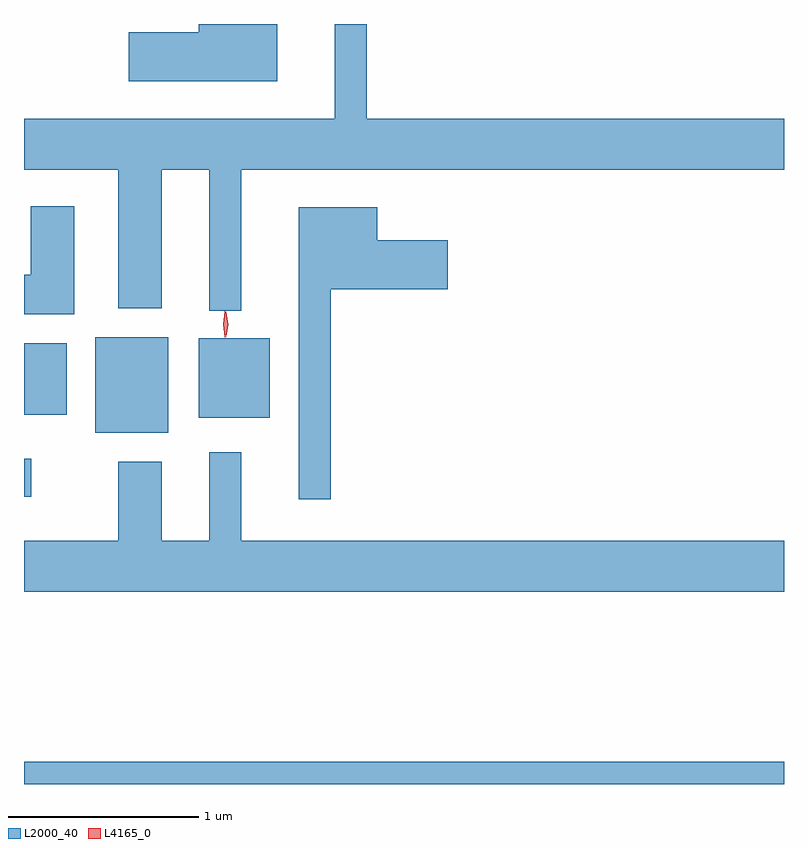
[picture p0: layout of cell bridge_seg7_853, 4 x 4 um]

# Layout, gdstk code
import gdstk
lib = gdstk.Library(unit=1e-6, precision=1e-09)
def R(c, l, rs):  # rectangles x0, y0, x1, y1
    for r in rs: c.add(gdstk.rectangle(r[:2], r[2:], *l))
def P(c, l, *ps):  # polygons
    for p in ps: c.add(gdstk.Polygon(p, *l))
L2000_40 = (2000, 40)
L4165_0 = (4165, 0)

bridge_seg7_853 = lib.new_cell('bridge_seg7_853')
R(bridge_seg7_853, L2000_40, [(270.985,1688.883,274.985,1688.999), (270.985,1690.396,271.024,1690.594), (271.361,1690.731,271.744,1691.234), (271.906,1690.811,272.279,1691.229), (270.985,1690.826,271.209,1691.204)])
P(bridge_seg7_853, L2000_40, [(272.129,1692.116),(274.985,1692.116),(274.985,1692.384),(272.789,1692.384),(272.789,1692.883),(272.621,1692.883),(272.621,1692.384),(270.985,1692.384),(270.985,1692.116),(271.481,1692.116),(271.481,1691.386),(271.709,1691.386),(271.709,1692.116),(271.961,1692.116),(271.961,1691.373),(272.129,1691.373)],
  [(272.319,1692.883),(271.906,1692.883),(271.906,1692.839),(271.536,1692.839),(271.536,1692.581),(272.319,1692.581)],
  [(271.249,1691.924),(271.021,1691.924),(271.021,1691.564),(270.985,1691.564),(270.985,1691.356),(271.249,1691.356)],
  [(272.599,1691.486),(273.214,1691.486),(273.214,1691.744),(272.844,1691.744),(272.844,1691.919),(272.431,1691.919),(272.431,1690.383),(272.599,1690.383)],
  [(274.985,1690.164),(272.129,1690.164),(272.129,1690.628),(271.961,1690.628),(271.961,1690.164),(271.709,1690.164),(271.709,1690.579),(271.481,1690.579),(271.481,1690.164),(270.985,1690.164),(270.985,1689.896),(274.985,1689.896)])
P(bridge_seg7_853, L4165_0, [(272.042,1691.234),(272.033,1691.302),(272.042,1691.37),(272.043,1691.37),(272.043,1691.37),(272.053,1691.302),(272.043,1691.234),(272.043,1691.234)],
  [(272.049,1691.238),(272.049,1691.238),(272.039,1691.302),(272.048,1691.367),(272.048,1691.367),(272.049,1691.367),(272.059,1691.303),(272.05,1691.238)])

lib.write_gds('bridge_seg7_853.gds')
